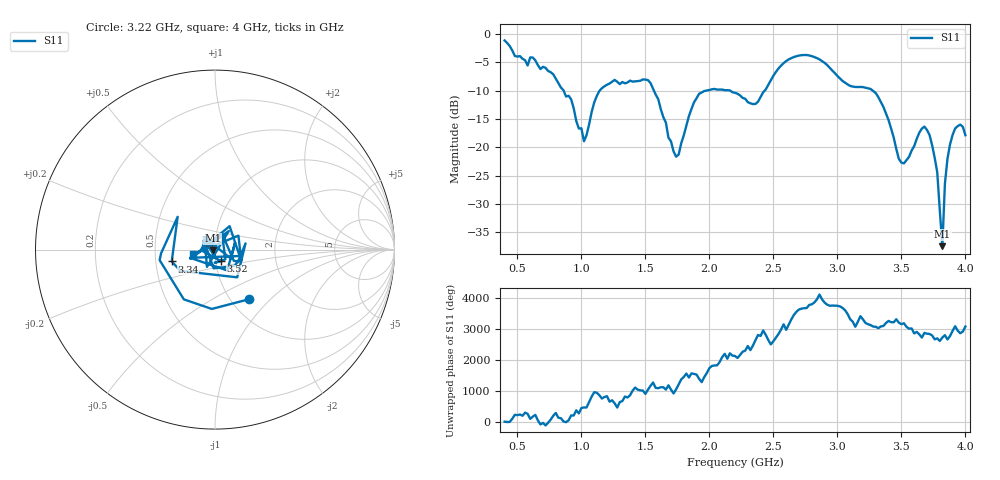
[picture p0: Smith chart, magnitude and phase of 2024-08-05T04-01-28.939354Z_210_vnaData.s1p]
!Created with skrf (http://scikit-rf.org).
# Hz S RI R 50.0
!freq ReS11 ImS11
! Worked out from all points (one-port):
!   181 points, 400 MHz to 4 GHz, reference 50 ohm
!   lowest |S11| = -37.4 dB at 3.82 GHz (marker M1), VSWR 1.03, Z = 48.7 - j0.399 ohm
!   |S11| at or under -10 dB: 861.1 MHz to 1.143 GHz (281.4 MHz wide, 28.1 % of centre); 1.567 GHz to 1.974 GHz (407.4 MHz wide, 23 % of centre); 3.276 GHz to end of sweep (the widest 3 of 4)
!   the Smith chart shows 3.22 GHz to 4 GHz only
!   S11 on the Smith chart (normalised r, x): 3.22 GHz: 1.21, -0.76; 3.34 GHz: 0.61, -0.09; 3.52 GHz: 1.06, -0.14; 4 GHz: 0.78, -0.04
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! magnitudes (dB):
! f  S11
! 400 MHz  -1.2
! 860 MHz  -9.9
! 920 MHz  -11.5
! 1.02 GHz  -18.9
! 1.14 GHz  -10.1
! 1.3 GHz  -8.9
! 1.54 GHz  -8.7
! 1.72 GHz  -20.7
! 1.76 GHz  -21.3
! 1.92 GHz  -10.5
! 2.2 GHz  -10.4
! 2.36 GHz  -12.3
! 2.66 GHz  -4.1
! 2.86 GHz  -4.5
! 3.1 GHz  -9.2
! 3.22 GHz  -9.5
! 3.34 GHz  -12.0
! 3.48 GHz  -22.0
! 3.52 GHz  -22.8
! 3.56 GHz  -21.7
! 3.66 GHz  -16.7
! 3.72 GHz  -17.8
! 3.78 GHz  -24.4
! 3.82 GHz  -37.4
! 3.84 GHz  -26.4
! 3.88 GHz  -19.5
! 3.96 GHz  -16.0
! 4 GHz  -17.9
